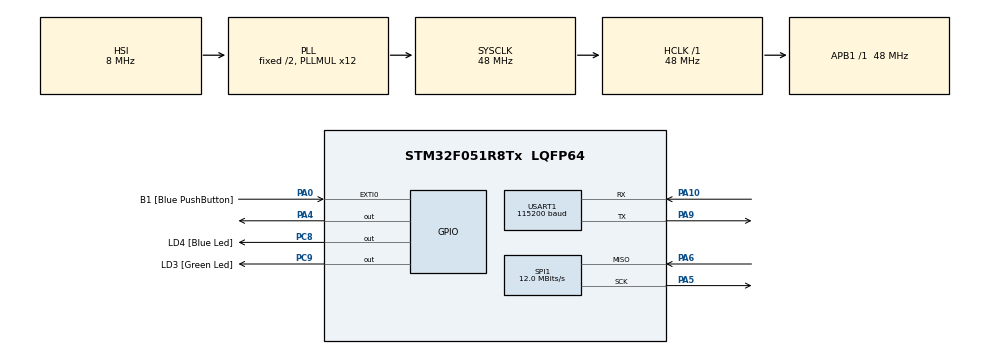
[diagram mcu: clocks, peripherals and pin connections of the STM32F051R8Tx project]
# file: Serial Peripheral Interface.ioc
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Mcu.Family=STM32F0
Mcu.Name=STM32F051R8Tx
Mcu.Package=LQFP64
PA0.GPIO_Label=B1 [Blue PushButton]
PA0.GPIO_ModeDefaultEXTI=GPIO_MODE_EVT_RISING
PA0.Signal=GPXTI0
PA10.Mode=Asynchronous
PA10.Signal=USART1_RX
PA13.GPIO_Label=SWDIO
PA13.Mode=Serial_Wire
PA13.Signal=SYS_SWDIO
PA14.GPIO_Label=SWCLK
PA14.Mode=Serial_Wire
PA14.Signal=SYS_SWCLK
PA4.PinState=GPIO_PIN_RESET
PA4.Signal=GPIO_Output
PA5.Mode=RX_Only_Simplex_Unidirect_Master
PA5.Signal=SPI1_SCK
PA6.Mode=RX_Only_Simplex_Unidirect_Master
PA6.Signal=SPI1_MISO
PA9.Mode=Asynchronous
PA9.Signal=USART1_TX
PC8.GPIO_Label=LD4 [Blue Led]
PC8.Signal=GPIO_Output
PC9.GPIO_Label=LD3 [Green Led]
PC9.Signal=GPIO_Output
ProjectManager.HeapSize=0x200
ProjectManager.StackSize=0x400
ProjectManager.TargetToolchain=STM32CubeIDE
RCC.AHBFreq_Value=48000000
RCC.APB1Freq_Value=48000000
RCC.APB1TimFreq_Value=48000000
RCC.HCLKFreq_Value=48000000
RCC.PLLMUL=RCC_PLL_MUL12
RCC.SYSCLKFreq_VALUE=48000000
RCC.SYSCLKSource=RCC_SYSCLKSOURCE_PLLCLK
SPI1.BaudRatePrescaler=SPI_BAUDRATEPRESCALER_4
SPI1.CLKPolarity=SPI_POLARITY_HIGH
SPI1.CRCCalculation=SPI_CRCCALCULATION_DISABLE
SPI1.CalculateBaudRate=12.0 MBits/s
SPI1.DataSize=SPI_DATASIZE_8BIT
SPI1.Direction=SPI_DIRECTION_2LINES_RXONLY
SPI1.Mode=SPI_MODE_MASTER
SPI1.NSSPMode=SPI_NSS_PULSE_ENABLE
SPI1.VirtualType=VM_MASTER
USART1.BaudRate=115200
USART1.VirtualMode-Asynchronous=VM_ASYNC
board=STM32F0DISCOVERY

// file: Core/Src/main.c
/* USER CODE BEGIN Header */
/**
  ******************************************************************************
  * @file           : main.c
  * @brief          : Main program body
  ******************************************************************************
  * @attention
  *
  * Copyright (c) 2024 STMicroelectronics.
  * All rights reserved.
  *
  * This software is licensed under terms that can be found in the LICENSE file
  * in the root directory of this software component.
  * If no LICENSE file comes with this software, it is provided AS-IS.
  *
  ******************************************************************************
  */
/* USER CODE END Header */
#include "main.h"

/* USER CODE BEGIN Includes */
#include <stdio.h>
#include <string.h>
/* USER CODE END Includes */

SPI_HandleTypeDef hspi1;

UART_HandleTypeDef huart1;

/* USER CODE BEGIN PV */
const uint8_t EEPROM_RDSR = 0b00000101;
/* USER CODE END PV */

void SystemClock_Config(void);
static void MX_GPIO_Init(void);
static void MX_SPI1_Init(void);
static void MX_USART1_UART_Init(void);

int main(void)
{

  /* MCU Configuration--------------------------------------------------------*/

  /* Reset of all peripherals, Initializes the Flash interface and the Systick. */
  HAL_Init();

  /* Configure the system clock */
  SystemClock_Config();

  /* Initialize all configured peripherals */
  MX_GPIO_Init();
  MX_SPI1_Init();
  MX_USART1_UART_Init();
  /* USER CODE BEGIN 2 */
  HAL_StatusTypeDef ret;
  char bufferUART[50];
  char bufferRAW[50];
  float voltage;
  uint8_t SPIDATA[2];
  uint16_t rawData = 0;
  /* USER CODE END 2 */

  /* Infinite loop */
  while (1)
  {

    /* USER CODE BEGIN 3 */
	  HAL_GPIO_WritePin(GPIOA, GPIO_PIN_4, GPIO_PIN_SET);
	  HAL_Delay(10);
	  // Pin/SPI is active low, so drive it low to communicate.
	  HAL_GPIO_WritePin(GPIOA, GPIO_PIN_4, GPIO_PIN_RESET);
	  // Receive ADC Data via SPI
	  ret = HAL_SPI_Receive(&hspi1, (uint8_t*)SPIDATA, 2, 10000);
	  if(ret != HAL_OK){
		  sprintf(bufferUART, "Error SPI status %d\r\n", ret);
		  HAL_UART_Transmit(&huart1, (const uint8_t*)bufferUART, strlen(bufferUART), 1000);
	  }
	  // Set back to high (idle)
	  HAL_GPIO_WritePin(GPIOA, GPIO_PIN_4, GPIO_PIN_SET);
	  rawData = (SPIDATA[0] << 8) | SPIDATA[1];
	  voltage = ((float)rawData / 65535.0) * 5 ;
	  // String format raw data and voltage into buffers
	  snprintf(bufferRAW, sizeof(bufferRAW), "Data: %d\r\n", rawData);
	  snprintf(bufferUART, sizeof(bufferUART), "%.01f V\r\n", voltage);
	  HAL_UART_Transmit(&huart1, (uint8_t*)bufferRAW, strlen(bufferRAW), 1000);
	  // Send readable voltage data through UART
	  HAL_UART_Transmit(&huart1, (uint8_t*)bufferUART, strlen(bufferUART), 1000);
	  HAL_Delay(500);
  }
  /* USER CODE END 3 */
}

void SystemClock_Config(void)
{
  RCC_OscInitTypeDef RCC_OscInitStruct = {0};
  RCC_ClkInitTypeDef RCC_ClkInitStruct = {0};
  RCC_PeriphCLKInitTypeDef PeriphClkInit = {0};

  /** Initializes the RCC Oscillators according to the specified parameters
  * in the RCC_OscInitTypeDef structure.
  */
  RCC_OscInitStruct.OscillatorType = RCC_OSCILLATORTYPE_HSI;
  RCC_OscInitStruct.HSIState = RCC_HSI_ON;
  RCC_OscInitStruct.HSICalibrationValue = RCC_HSICALIBRATION_DEFAULT;
  RCC_OscInitStruct.PLL.PLLState = RCC_PLL_ON;
  RCC_OscInitStruct.PLL.PLLSource = RCC_PLLSOURCE_HSI;
  RCC_OscInitStruct.PLL.PLLMUL = RCC_PLL_MUL12;
  RCC_OscInitStruct.PLL.PREDIV = RCC_PREDIV_DIV1;
  if (HAL_RCC_OscConfig(&RCC_OscInitStruct) != HAL_OK)
  {
    Error_Handler();
  }

  /** Initializes the CPU, AHB and APB buses clocks
  */
  RCC_ClkInitStruct.ClockType = RCC_CLOCKTYPE_HCLK|RCC_CLOCKTYPE_SYSCLK
                              |RCC_CLOCKTYPE_PCLK1;
  RCC_ClkInitStruct.SYSCLKSource = RCC_SYSCLKSOURCE_PLLCLK;
  RCC_ClkInitStruct.AHBCLKDivider = RCC_SYSCLK_DIV1;
  RCC_ClkInitStruct.APB1CLKDivider = RCC_HCLK_DIV1;

  if (HAL_RCC_ClockConfig(&RCC_ClkInitStruct, FLASH_LATENCY_1) != HAL_OK)
  {
    Error_Handler();
  }
  PeriphClkInit.PeriphClockSelection = RCC_PERIPHCLK_USART1;
  PeriphClkInit.Usart1ClockSelection = RCC_USART1CLKSOURCE_PCLK1;
  if (HAL_RCCEx_PeriphCLKConfig(&PeriphClkInit) != HAL_OK)
  {
    Error_Handler();
  }
}

static void MX_SPI1_Init(void)
{

  /* SPI1 parameter configuration*/
  hspi1.Instance = SPI1;
  hspi1.Init.Mode = SPI_MODE_MASTER;
  hspi1.Init.Direction = SPI_DIRECTION_2LINES_RXONLY;
  hspi1.Init.DataSize = SPI_DATASIZE_8BIT;
  hspi1.Init.CLKPolarity = SPI_POLARITY_HIGH;
  hspi1.Init.CLKPhase = SPI_PHASE_1EDGE;
  hspi1.Init.NSS = SPI_NSS_SOFT;
  hspi1.Init.BaudRatePrescaler = SPI_BAUDRATEPRESCALER_4;
  hspi1.Init.FirstBit = SPI_FIRSTBIT_MSB;
  hspi1.Init.TIMode = SPI_TIMODE_DISABLE;
  hspi1.Init.CRCCalculation = SPI_CRCCALCULATION_DISABLE;
  hspi1.Init.CRCPolynomial = 7;
  hspi1.Init.CRCLength = SPI_CRC_LENGTH_DATASIZE;
  hspi1.Init.NSSPMode = SPI_NSS_PULSE_ENABLE;
  if (HAL_SPI_Init(&hspi1) != HAL_OK)
  {
    Error_Handler();
  }

}

static void MX_USART1_UART_Init(void)
{

  huart1.Instance = USART1;
  huart1.Init.BaudRate = 115200;
  huart1.Init.WordLength = UART_WORDLENGTH_8B;
  huart1.Init.StopBits = UART_STOPBITS_1;
  huart1.Init.Parity = UART_PARITY_NONE;
  huart1.Init.Mode = UART_MODE_TX_RX;
  huart1.Init.HwFlowCtl = UART_HWCONTROL_NONE;
  huart1.Init.OverSampling = UART_OVERSAMPLING_16;
  huart1.Init.OneBitSampling = UART_ONE_BIT_SAMPLE_DISABLE;
  huart1.AdvancedInit.AdvFeatureInit = UART_ADVFEATURE_NO_INIT;
  if (HAL_UART_Init(&huart1) != HAL_OK)
  {
    Error_Handler();
  }

}

static void MX_GPIO_Init(void)
{
  GPIO_InitTypeDef GPIO_InitStruct = {0};

  /* GPIO Ports Clock Enable */
  __HAL_RCC_GPIOA_CLK_ENABLE();
  __HAL_RCC_GPIOC_CLK_ENABLE();

  /*Configure GPIO pin Output Level */
  HAL_GPIO_WritePin(GPIOA, GPIO_PIN_4, GPIO_PIN_RESET);

  /*Configure GPIO pin Output Level */
  HAL_GPIO_WritePin(GPIOC, LD4_Pin|LD3_Pin, GPIO_PIN_RESET);

  /*Configure GPIO pin : B1_Pin */
  GPIO_InitStruct.Pin = B1_Pin;
  GPIO_InitStruct.Mode = GPIO_MODE_EVT_RISING;
  GPIO_InitStruct.Pull = GPIO_NOPULL;
  HAL_GPIO_Init(B1_GPIO_Port, &GPIO_InitStruct);

  /*Configure GPIO pin : PA4 */
  GPIO_InitStruct.Pin = GPIO_PIN_4;
  GPIO_InitStruct.Mode = GPIO_MODE_OUTPUT_PP;
  GPIO_InitStruct.Pull = GPIO_NOPULL;
  GPIO_InitStruct.Speed = GPIO_SPEED_FREQ_LOW;
  HAL_GPIO_Init(GPIOA, &GPIO_InitStruct);

  /*Configure GPIO pins : LD4_Pin LD3_Pin */
  GPIO_InitStruct.Pin = LD4_Pin|LD3_Pin;
  GPIO_InitStruct.Mode = GPIO_MODE_OUTPUT_PP;
  GPIO_InitStruct.Pull = GPIO_NOPULL;
  GPIO_InitStruct.Speed = GPIO_SPEED_FREQ_LOW;
  HAL_GPIO_Init(GPIOC, &GPIO_InitStruct);

}

void Error_Handler(void)
{
  __disable_irq();
  while (1)
  {
  }
}
